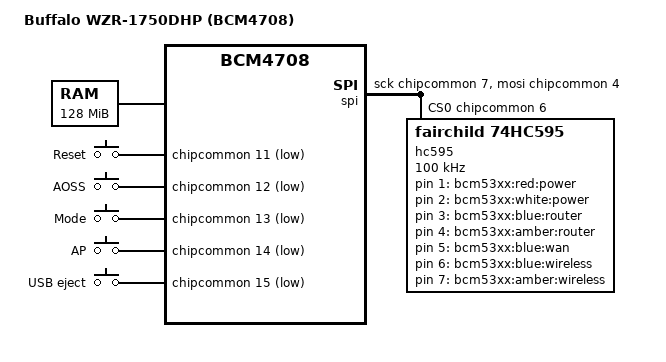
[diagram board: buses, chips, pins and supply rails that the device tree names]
/*
 * Broadcom BCM470X / BCM5301X ARM platform code.
 * DTS for Buffalo WZR-1750DHP
 *
 * Copyright (C) 2014 Rafał Miłecki <zajec5@gmail.com>
 *
 * Licensed under the GNU/GPL. See COPYING for details.
 */

/dts-v1/;

#include "bcm4708.dtsi"

/ {
	compatible = "buffalo,wzr-1750dhp", "brcm,bcm4708";
	model = "Buffalo WZR-1750DHP (BCM4708)";

	chosen {
		bootargs = "console=ttyS0,115200";
	};

	memory {
		reg = <0x00000000 0x08000000>;
	};

	spi {
		compatible = "spi-gpio";
		num-chipselects = <1>;
		gpio-sck = <&chipcommon 7 0>;
		gpio-mosi = <&chipcommon 4 0>;
		cs-gpios = <&chipcommon 6 0>;
		#address-cells = <1>;
		#size-cells = <0>;

		hc595: gpio_spi@0 {
			compatible = "fairchild,74hc595";
			reg = <0>;
			registers-number = <1>;
			spi-max-frequency = <100000>;

			gpio-controller;
			#gpio-cells = <2>;

		};
	};

	leds {
		compatible = "gpio-leds";

		power0 {
			label = "bcm53xx:red:power";
			gpios = <&hc595 1 GPIO_ACTIVE_HIGH>;
			linux,default-trigger = "default-off";
		};

		power1 {
			label = "bcm53xx:white:power";
			gpios = <&hc595 2 GPIO_ACTIVE_HIGH>;
			linux,default-trigger = "default-on";
		};

		router0 {
			label = "bcm53xx:blue:router";
			gpios = <&hc595 3 GPIO_ACTIVE_HIGH>;
			linux,default-trigger = "default-on";
		};

		router1 {
			label = "bcm53xx:amber:router";
			gpios = <&hc595 4 GPIO_ACTIVE_HIGH>;
			linux,default-trigger = "default-off";
		};

		wan {
			label = "bcm53xx:blue:wan";
			gpios = <&hc595 5 GPIO_ACTIVE_HIGH>;
			linux,default-trigger = "default-on";
		};

		wireless0 {
			label = "bcm53xx:blue:wireless";
			gpios = <&hc595 6 GPIO_ACTIVE_HIGH>;
			linux,default-trigger = "default-off";
		};

		wireless1 {
			label = "bcm53xx:amber:wireless";
			gpios = <&hc595 7 GPIO_ACTIVE_HIGH>;
			linux,default-trigger = "default-off";
		};
	};

	gpio-keys {
		compatible = "gpio-keys";
		#address-cells = <1>;
		#size-cells = <0>;

		restart {
			label = "Reset";
			linux,code = <KEY_RESTART>;
			gpios = <&chipcommon 11 GPIO_ACTIVE_LOW>;
		};

		aoss {
			label = "AOSS";
			linux,code = <KEY_WPS_BUTTON>;
			gpios = <&chipcommon 12 GPIO_ACTIVE_LOW>;
		};

		/* Commit mode set by switch? */
		mode {
			label = "Mode";
			linux,code = <KEY_SETUP>;
			gpios = <&chipcommon 13 GPIO_ACTIVE_LOW>;
		};

		/* Switch: AP mode */
		sw_ap {
			label = "AP";
			linux,code = <BTN_0>;
			gpios = <&chipcommon 14 GPIO_ACTIVE_LOW>;
		};

		eject {
			label = "USB eject";
			linux,code = <KEY_EJECTCD>;
			gpios = <&chipcommon 15 GPIO_ACTIVE_LOW>;
		};
	};
};
